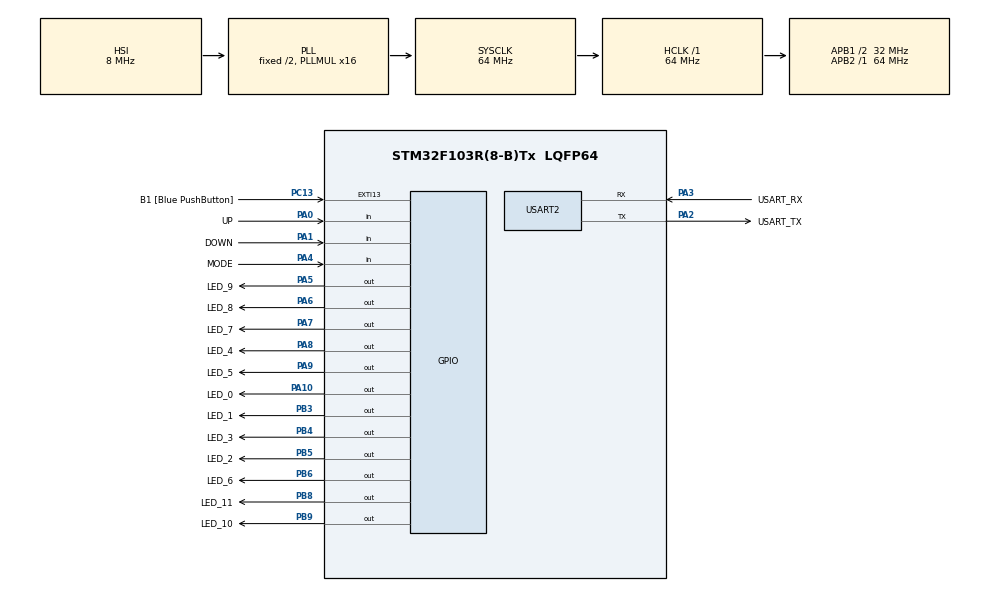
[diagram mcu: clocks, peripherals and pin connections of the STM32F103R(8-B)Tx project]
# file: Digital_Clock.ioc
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Mcu.Family=STM32F1
Mcu.Name=STM32F103R(8-B)Tx
Mcu.Package=LQFP64
NVIC.EXTI15_10_IRQn=true\:0\:0\:false\:false\:true\:true\:true\:true
NVIC.PriorityGroup=NVIC_PRIORITYGROUP_4
NVIC.TIM2_IRQn=true\:0\:0\:false\:false\:true\:true\:true\:true
PA0-WKUP.GPIO_Label=UP
PA0-WKUP.GPIO_PuPd=GPIO_PULLUP
PA0-WKUP.Signal=GPIO_Input
PA1.GPIO_Label=DOWN
PA1.GPIO_PuPd=GPIO_PULLUP
PA1.Signal=GPIO_Input
PA10.GPIO_Label=LED_0
PA10.Signal=GPIO_Output
PA13.GPIO_Label=TMS
PA13.Mode=Serial_Wire
PA13.Signal=SYS_JTMS-SWDIO
PA14.GPIO_Label=TCK
PA14.Mode=Serial_Wire
PA14.Signal=SYS_JTCK-SWCLK
PA2.GPIO_Label=USART_TX
PA2.GPIO_Mode=GPIO_MODE_AF_PP
PA2.GPIO_PuPd=GPIO_NOPULL
PA2.GPIO_Speed=GPIO_SPEED_FREQ_LOW
PA2.Mode=Asynchronous
PA2.Signal=USART2_TX
PA3.GPIO_Label=USART_RX
PA3.GPIO_Mode=GPIO_MODE_AF_PP
PA3.GPIO_PuPd=GPIO_NOPULL
PA3.GPIO_Speed=GPIO_SPEED_FREQ_LOW
PA3.Mode=Asynchronous
PA3.Signal=USART2_RX
PA4.GPIO_Label=MODE
PA4.GPIO_PuPd=GPIO_PULLUP
PA4.Signal=GPIO_Input
PA5.GPIO_Label=LED_9
PA5.Signal=GPIO_Output
PA6.GPIO_Label=LED_8
PA6.Signal=GPIO_Output
PA7.GPIO_Label=LED_7
PA7.Signal=GPIO_Output
PA8.GPIO_Label=LED_4
PA8.Signal=GPIO_Output
PA9.GPIO_Label=LED_5
PA9.Signal=GPIO_Output
PB3.GPIO_Label=LED_1
PB3.Signal=GPIO_Output
PB4.GPIO_Label=LED_3
PB4.Signal=GPIO_Output
PB5.GPIO_Label=LED_2
PB5.Signal=GPIO_Output
PB6.GPIO_Label=LED_6
PB6.Signal=GPIO_Output
PB8.GPIO_Label=LED_11
PB8.Signal=GPIO_Output
PB9.GPIO_Label=LED_10
PB9.Signal=GPIO_Output
PC13-TAMPER-RTC.GPIO_Label=B1 [Blue PushButton]
PC13-TAMPER-RTC.GPIO_PuPd=GPIO_NOPULL
PC13-TAMPER-RTC.Signal=GPXTI13
PC14-OSC32_IN.Mode=LSE-External-Oscillator
PC14-OSC32_IN.Signal=RCC_OSC32_IN
PC15-OSC32_OUT.Mode=LSE-External-Oscillator
PC15-OSC32_OUT.Signal=RCC_OSC32_OUT
PD0-OSC_IN.Mode=HSE-External-Clock-Source
PD0-OSC_IN.Signal=RCC_OSC_IN
PD1-OSC_OUT.Mode=HSE-External-Clock-Source
PD1-OSC_OUT.Signal=RCC_OSC_OUT
ProjectManager.HeapSize=0x200
ProjectManager.StackSize=0x400
ProjectManager.TargetToolchain=STM32CubeIDE
RCC.AHBFreq_Value=64000000
RCC.APB1CLKDivider=RCC_HCLK_DIV2
RCC.APB1Freq_Value=32000000
RCC.APB1TimFreq_Value=64000000
RCC.APB2Freq_Value=64000000
RCC.APB2TimFreq_Value=64000000
RCC.HCLKFreq_Value=64000000
RCC.PLLMUL=RCC_PLL_MUL16
RCC.RTCClockSelection=RCC_RTCCLKSOURCE_LSE
RCC.SYSCLKFreq_VALUE=64000000
RCC.SYSCLKSource=RCC_SYSCLKSOURCE_PLLCLK
RCC.USBFreq_Value=64000000
TIM2.Period=7999
TIM2.Prescaler=7
USART2.VirtualMode=VM_ASYNC
VP_TIM2_VS_ClockSourceINT.Mode=Internal
board=NUCLEO-F103RB

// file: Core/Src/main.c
/* USER CODE BEGIN Header */
/**
  ******************************************************************************
  * @file           : main.c
  * @brief          : Main program body
  ******************************************************************************
  * @attention
  *
  * Copyright (c) 2023 STMicroelectronics.
  * All rights reserved.
  *
  * This software is licensed under terms that can be found in the LICENSE file
  * in the root directory of this software component.
  * If no LICENSE file comes with this software, it is provided AS-IS.
  *
  ******************************************************************************
  */
/* USER CODE END Header */
#include "main.h"

/* USER CODE BEGIN Includes */
#include "button.h"

#include <fsm_mode.h>

#include <software_timer.h>
#include "led_display.h"
#include <stdint.h>
#include <stdio.h>
#include "scheduler.h"
#include "input_reading.h"
#include "fsm_display.h"

/* USER CODE END Includes */

TIM_HandleTypeDef htim2;

UART_HandleTypeDef huart2;

void SystemClock_Config(void);
static void MX_GPIO_Init(void);
static void MX_USART2_UART_Init(void);
static void MX_TIM2_Init(void);

int main(void)
{

  /* MCU Configuration--------------------------------------------------------*/

  /* Reset of all peripherals, Initializes the Flash interface and the Systick. */
  HAL_Init();

  /* Configure the system clock */
  SystemClock_Config();

  /* Initialize all configured peripherals */
  MX_GPIO_Init();
  MX_USART2_UART_Init();
  MX_TIM2_Init();
  /* USER CODE BEGIN 2 */
  HAL_TIM_Base_Start_IT(&htim2);

//  status_mode = INIT;

  setTimer1(1000);
  setTimer2(1000);
  setTimer3(1000);
  setTimer4(1000);
  setTimer5(1000);
  setTimer6(1000);

//  SCH_Init();

//  SCH_Add_Task(timerRun, 0, 10);
//  SCH_Add_Task(button_reading, 0, 10);
//  SCH_Add_Task(fsm_mode_run, 0 , 10);
//  SCH_Add_Task(fsm_automatic_1_run, 0 , 10);
//  SCH_Add_Task(fsm_mode_led7seg, 0, 10);

  /* USER CODE END 2 */

  /* Infinite loop */
  while (1)
  {

    /* USER CODE BEGIN 3 */
//	  onAllClock();
//	  fsm_display();
	  fsm_mode_run();
//	  SCH_Dispatch_Tasks();

  }
  /* USER CODE END 3 */
}

void SystemClock_Config(void)
{
  RCC_OscInitTypeDef RCC_OscInitStruct = {0};
  RCC_ClkInitTypeDef RCC_ClkInitStruct = {0};

  /** Initializes the RCC Oscillators according to the specified parameters
  * in the RCC_OscInitTypeDef structure.
  */
  RCC_OscInitStruct.OscillatorType = RCC_OSCILLATORTYPE_HSI;
  RCC_OscInitStruct.HSIState = RCC_HSI_ON;
  RCC_OscInitStruct.HSICalibrationValue = RCC_HSICALIBRATION_DEFAULT;
  RCC_OscInitStruct.PLL.PLLState = RCC_PLL_ON;
  RCC_OscInitStruct.PLL.PLLSource = RCC_PLLSOURCE_HSI_DIV2;
  RCC_OscInitStruct.PLL.PLLMUL = RCC_PLL_MUL16;
  if (HAL_RCC_OscConfig(&RCC_OscInitStruct) != HAL_OK)
  {
    Error_Handler();
  }

  /** Initializes the CPU, AHB and APB buses clocks
  */
  RCC_ClkInitStruct.ClockType = RCC_CLOCKTYPE_HCLK|RCC_CLOCKTYPE_SYSCLK
                              |RCC_CLOCKTYPE_PCLK1|RCC_CLOCKTYPE_PCLK2;
  RCC_ClkInitStruct.SYSCLKSource = RCC_SYSCLKSOURCE_PLLCLK;
  RCC_ClkInitStruct.AHBCLKDivider = RCC_SYSCLK_DIV1;
  RCC_ClkInitStruct.APB1CLKDivider = RCC_HCLK_DIV2;
  RCC_ClkInitStruct.APB2CLKDivider = RCC_HCLK_DIV1;

  if (HAL_RCC_ClockConfig(&RCC_ClkInitStruct, FLASH_LATENCY_2) != HAL_OK)
  {
    Error_Handler();
  }
}

static void MX_TIM2_Init(void)
{

  TIM_ClockConfigTypeDef sClockSourceConfig = {0};
  TIM_MasterConfigTypeDef sMasterConfig = {0};

  htim2.Instance = TIM2;
  htim2.Init.Prescaler = 7;
  htim2.Init.CounterMode = TIM_COUNTERMODE_UP;
  htim2.Init.Period = 7999;
  htim2.Init.ClockDivision = TIM_CLOCKDIVISION_DIV1;
  htim2.Init.AutoReloadPreload = TIM_AUTORELOAD_PRELOAD_DISABLE;
  if (HAL_TIM_Base_Init(&htim2) != HAL_OK)
  {
    Error_Handler();
  }
  sClockSourceConfig.ClockSource = TIM_CLOCKSOURCE_INTERNAL;
  if (HAL_TIM_ConfigClockSource(&htim2, &sClockSourceConfig) != HAL_OK)
  {
    Error_Handler();
  }
  sMasterConfig.MasterOutputTrigger = TIM_TRGO_RESET;
  sMasterConfig.MasterSlaveMode = TIM_MASTERSLAVEMODE_DISABLE;
  if (HAL_TIMEx_MasterConfigSynchronization(&htim2, &sMasterConfig) != HAL_OK)
  {
    Error_Handler();
  }

}

static void MX_USART2_UART_Init(void)
{

  huart2.Instance = USART2;
  huart2.Init.BaudRate = 115200;
  huart2.Init.WordLength = UART_WORDLENGTH_8B;
  huart2.Init.StopBits = UART_STOPBITS_1;
  huart2.Init.Parity = UART_PARITY_NONE;
  huart2.Init.Mode = UART_MODE_TX_RX;
  huart2.Init.HwFlowCtl = UART_HWCONTROL_NONE;
  huart2.Init.OverSampling = UART_OVERSAMPLING_16;
  if (HAL_UART_Init(&huart2) != HAL_OK)
  {
    Error_Handler();
  }

}

static void MX_GPIO_Init(void)
{
  GPIO_InitTypeDef GPIO_InitStruct = {0};

  /* GPIO Ports Clock Enable */
  __HAL_RCC_GPIOC_CLK_ENABLE();
  __HAL_RCC_GPIOD_CLK_ENABLE();
  __HAL_RCC_GPIOA_CLK_ENABLE();
  __HAL_RCC_GPIOB_CLK_ENABLE();

  /*Configure GPIO pin Output Level */
  HAL_GPIO_WritePin(GPIOA, LED_9_Pin|LED_8_Pin|LED_7_Pin|LED_4_Pin
                          |LED_5_Pin|LED_0_Pin, GPIO_PIN_RESET);

  /*Configure GPIO pin Output Level */
  HAL_GPIO_WritePin(GPIOB, LED_1_Pin|LED_3_Pin|LED_2_Pin|LED_6_Pin
                          |LED_11_Pin|LED_10_Pin, GPIO_PIN_RESET);

  /*Configure GPIO pin : B1_Pin */
  GPIO_InitStruct.Pin = B1_Pin;
  GPIO_InitStruct.Mode = GPIO_MODE_IT_RISING;
  GPIO_InitStruct.Pull = GPIO_NOPULL;
  HAL_GPIO_Init(B1_GPIO_Port, &GPIO_InitStruct);

  /*Configure GPIO pins : UP_Pin DOWN_Pin MODE_Pin */
  GPIO_InitStruct.Pin = UP_Pin|DOWN_Pin|MODE_Pin;
  GPIO_InitStruct.Mode = GPIO_MODE_INPUT;
  GPIO_InitStruct.Pull = GPIO_PULLUP;
  HAL_GPIO_Init(GPIOA, &GPIO_InitStruct);

  /*Configure GPIO pins : LED_9_Pin LED_8_Pin LED_7_Pin LED_4_Pin
                           LED_5_Pin LED_0_Pin */
  GPIO_InitStruct.Pin = LED_9_Pin|LED_8_Pin|LED_7_Pin|LED_4_Pin
                          |LED_5_Pin|LED_0_Pin;
  GPIO_InitStruct.Mode = GPIO_MODE_OUTPUT_PP;
  GPIO_InitStruct.Pull = GPIO_NOPULL;
  GPIO_InitStruct.Speed = GPIO_SPEED_FREQ_LOW;
  HAL_GPIO_Init(GPIOA, &GPIO_InitStruct);

  /*Configure GPIO pins : LED_1_Pin LED_3_Pin LED_2_Pin LED_6_Pin
                           LED_11_Pin LED_10_Pin */
  GPIO_InitStruct.Pin = LED_1_Pin|LED_3_Pin|LED_2_Pin|LED_6_Pin
                          |LED_11_Pin|LED_10_Pin;
  GPIO_InitStruct.Mode = GPIO_MODE_OUTPUT_PP;
  GPIO_InitStruct.Pull = GPIO_NOPULL;
  GPIO_InitStruct.Speed = GPIO_SPEED_FREQ_LOW;
  HAL_GPIO_Init(GPIOB, &GPIO_InitStruct);

  /* EXTI interrupt init*/
  HAL_NVIC_SetPriority(EXTI15_10_IRQn, 0, 0);
  HAL_NVIC_EnableIRQ(EXTI15_10_IRQn);

}

/* USER CODE BEGIN 4 */
void HAL_TIM_PeriodElapsedCallback(TIM_HandleTypeDef *htim) {
	button_reading();
	timerRun();
	getKeyInput();
}
/* USER CODE END 4 */

void Error_Handler(void)
{
  __disable_irq();
  while (1)
  {
  }
}
